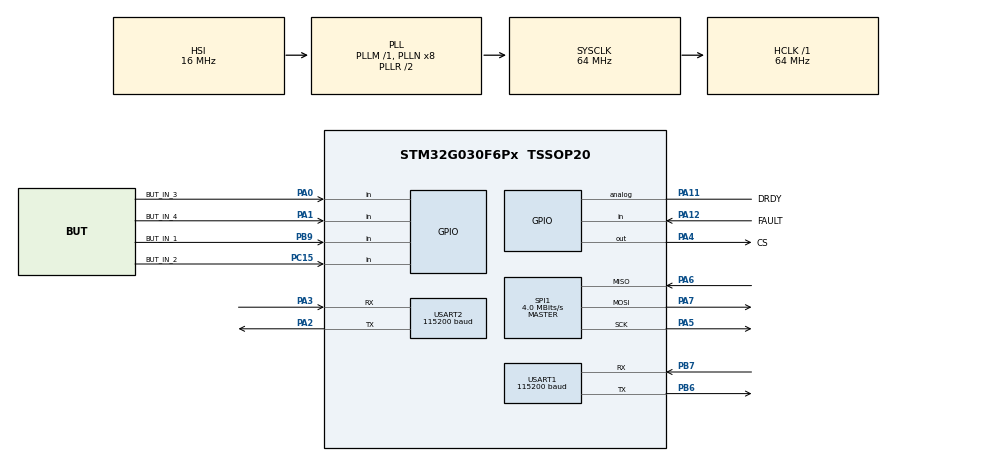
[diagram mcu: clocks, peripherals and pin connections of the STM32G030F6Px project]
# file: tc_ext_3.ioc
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Mcu.Family=STM32G0
Mcu.Name=STM32G030F6Px
Mcu.Package=TSSOP20
NVIC.SPI1_IRQn=true\:0\:0\:false\:false\:true\:true\:true\:true
NVIC.USART1_IRQn=true\:0\:0\:false\:false\:true\:true\:true\:true
NVIC.USART2_IRQn=true\:0\:0\:false\:false\:true\:true\:true\:true
PA0.GPIO_Label=BUT_IN_3
PA0.GPIO_PuPd=GPIO_PULLUP
PA0.Signal=GPIO_Input
PA1.GPIO_Label=BUT_IN_4
PA1.GPIO_PuPd=GPIO_PULLUP
PA1.Signal=GPIO_Input
PA11\ [PA9].GPIO_Label=DRDY
PA11\ [PA9].Signal=GPIO_Analog
PA12\ [PA10].GPIO_Label=FAULT
PA12\ [PA10].GPIO_PuPd=GPIO_NOPULL
PA12\ [PA10].Signal=GPIO_Input
PA13.Mode=Serial_Wire
PA13.Signal=SYS_SWDIO
PA14-BOOT0.Mode=Serial_Wire
PA14-BOOT0.Signal=SYS_SWCLK
PA14-BOOT0__PA15.StandardMode=true
PA2.Mode=Asynchronous
PA2.Signal=USART2_TX
PA3.Mode=Asynchronous
PA3.Signal=USART2_RX
PA4.GPIO_Label=CS
PA4.GPIO_Speed=GPIO_SPEED_FREQ_MEDIUM
PA4.Signal=GPIO_Output
PA5.GPIO_Speed=GPIO_SPEED_FREQ_MEDIUM
PA5.Mode=Full_Duplex_Master
PA5.Signal=SPI1_SCK
PA6.GPIO_Speed=GPIO_SPEED_FREQ_MEDIUM
PA6.Mode=Full_Duplex_Master
PA6.Signal=SPI1_MISO
PA7.GPIO_Speed=GPIO_SPEED_FREQ_MEDIUM
PA7.Mode=Full_Duplex_Master
PA7.Signal=SPI1_MOSI
PB0__PB1__PB2__PA8.StandardMode=true
PB3__PB4__PB5__PB6.StandardMode=true
PB6.Mode=Asynchronous
PB6.Signal=USART1_TX
PB7.Mode=Asynchronous
PB7.Signal=USART1_RX
PB7__PB8.StandardMode=true
PB9.GPIO_Label=BUT_IN_1
PB9.GPIO_PuPd=GPIO_PULLUP
PB9.Signal=GPIO_Input
PC14-OSC32_IN\ (PC14)__PB9.StandardMode=true
PC15-OSC32_OUT\ (PC15).GPIO_Label=BUT_IN_2
PC15-OSC32_OUT\ (PC15).GPIO_PuPd=GPIO_PULLUP
PC15-OSC32_OUT\ (PC15).Signal=GPIO_Input
ProjectManager.HeapSize=0x200
ProjectManager.StackSize=0x400
ProjectManager.TargetToolchain=STM32CubeIDE
RCC.ADCFreq_Value=64000000
RCC.AHBFreq_Value=64000000
RCC.CortexFreq_Value=64000000
RCC.EXTERNAL_CLOCK_VALUE=12288000
RCC.HCLKFreq_Value=64000000
RCC.HSE_VALUE=8000000
RCC.HSI_VALUE=16000000
RCC.LSE_VALUE=32768
RCC.SYSCLKFreq_VALUE=64000000
RCC.SYSCLKSource=RCC_SYSCLKSOURCE_PLLCLK
RCC.VCOOutputFreq_Value=128000000
SPI1.BaudRatePrescaler=SPI_BAUDRATEPRESCALER_16
SPI1.CLKPhase=SPI_PHASE_2EDGE
SPI1.CLKPolarity=SPI_POLARITY_HIGH
SPI1.CalculateBaudRate=4.0 MBits/s
SPI1.Direction=SPI_DIRECTION_2LINES
SPI1.Mode=SPI_MODE_MASTER
SPI1.VirtualType=VM_MASTER
USART1.BaudRate=115200
USART1.VirtualMode-Asynchronous=VM_ASYNC
USART2.BaudRate=115200
USART2.VirtualMode-Asynchronous=VM_ASYNC
board=custom

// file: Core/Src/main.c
/* USER CODE BEGIN Header */
/**
  ******************************************************************************
  * @file           : main.c
  * @brief          : Main program body
  ******************************************************************************
  * @attention
  *
  * Copyright (c) 2022 STMicroelectronics.
  * All rights reserved.
  *
  * This software is licensed under terms that can be found in the LICENSE file
  * in the root directory of this software component.
  * If no LICENSE file comes with this software, it is provided AS-IS.
  *
  ******************************************************************************
  */
/* USER CODE END Header */
#include "main.h"

/* USER CODE BEGIN Includes */
#include "MAX31856.h"
#define TIMEOUT 100
#define PERIOD  500

int Button_Read();
void print_Thermocouple_Type(uint8_t type);

#include <stdio.h>
#include <math.h>
#include <stdlib.h>
#include <stdbool.h>

#include "stm32g0xx.h"
#include "stm32g0xx_hal.h"

/* USER CODE END Includes */

SPI_HandleTypeDef hspi1;

UART_HandleTypeDef huart1;
UART_HandleTypeDef huart2;

/* USER CODE BEGIN PV */

float temp_cj = 0;
float temp = 0;
uint8_t four_segment_button = 0;
char temperature_value[10];
char thermocouple_type[22];
uint32_t last_time_ms = 0;

/* USER CODE END PV */

void SystemClock_Config(void);
static void MX_GPIO_Init(void);
static void MX_SPI1_Init(void);
static void MX_USART1_UART_Init(void);
static void MX_USART2_UART_Init(void);

/* USER CODE BEGIN 0 */

int Button_Read()
{
	  return ((uint8_t)HAL_GPIO_ReadPin(GPIOC, GPIO_PIN_14) << 3) | ((uint8_t)HAL_GPIO_ReadPin(GPIOC, GPIO_PIN_15) << 2) |
			  ((uint8_t)HAL_GPIO_ReadPin(GPIOA, GPIO_PIN_0) << 1) | ((uint8_t)HAL_GPIO_ReadPin(GPIOA, GPIO_PIN_1) << 0);
}

void print_Thermocouple_Type(uint8_t type)
{
	  switch(type)
	  {

	  case TC_TYPE_B:
		  sprintf(thermocouple_type, "B TYPE THERMOCOUPLE");
		  break;
	  case TC_TYPE_E:
		  sprintf(thermocouple_type, "E TYPE THERMOCOUPLE");
		  break;
	  case TC_TYPE_J:
		  sprintf(thermocouple_type, "J TYPE THERMOCOUPLE");
		  break;
	  case TC_TYPE_K:
		  sprintf(thermocouple_type, "K TYPE THERMOCOUPLE");
		  break;
	  case TC_TYPE_N:
		  sprintf(thermocouple_type, "N TYPE THERMOCOUPLE");
		  break;
	  case TC_TYPE_R:
		  sprintf(thermocouple_type, "R TYPE THERMOCOUPLE");
		  break;
	  case TC_TYPE_S:
		  sprintf(thermocouple_type, "S TYPE THERMOCOUPLE");
		  break;
	  case TC_TYPE_T:
		  sprintf(thermocouple_type, "T TYPE THERMOCOUPLE");
		  break;
	  case V_MODE_G8:
		  sprintf(thermocouple_type, "G8 TYPE THERMOCOUPLE");
		  break;
	  case V_MODE_G16:
		  sprintf(thermocouple_type, "G16 TYPE THERMOCOUPLE");
		  break;
	  default:
		  break;

	  }

}

/* USER CODE END 0 */

int main(void)
{

  /* MCU Configuration--------------------------------------------------------*/

  /* Reset of all peripherals, Initializes the Flash interface and the Systick. */
  HAL_Init();

  /* Configure the system clock */
  SystemClock_Config();

  /* Initialize all configured peripherals */
  MX_GPIO_Init();
  MX_SPI1_Init();
  MX_USART1_UART_Init();
  MX_USART2_UART_Init();
  /* USER CODE BEGIN 2 */
  __HAL_SPI_ENABLE(&hspi1);
  __HAL_UART_ENABLE(&huart1);

  HAL_UART_GetState(&huart1);
  HAL_SPI_GetState(&hspi1);

  four_segment_button = Button_Read();
  MAX31856_Set_Thermocouple(four_segment_button);
  print_Thermocouple_Type(four_segment_button);

  HAL_Delay(1000);

  /* USER CODE END 2 */

  /* Infinite loop */
  while (1)
  {

    /* USER CODE BEGIN 3 */

	  uint32_t current_time_ms = HAL_GetTick();
	  bool is_error = false;

	  while (1)
	  {
		  if ((HAL_GPIO_ReadPin(DRDY_GPIO_Port, DRDY_Pin) == GPIO_PIN_RESET)) //RESET yazılıydı
		  {
			  temp = MAX31856_readTemp();
			  temp_cj = MAX31856_readCJ();

			  char *temp_sign = (temp < 0) ? "-" : "+";
			  float temp_value = (temp < 0) ? -temp : temp;

			  /*
			   * For example temp = 26.53
			   */
			  int temp_int1 = temp_value;                            // get the integer 26

			  float temp_fraction = temp_value - temp_int1;          // get fraction 0.53
			  int temp_int2 = trunc(temp_fraction * 100);            // turn into integer 53

			  sprintf(temperature_value, "%s%04d,%02d\r\n", temp_sign, temp_int1, temp_int2);
			  break;

		  }

		  else if ((HAL_GetTick() > current_time_ms + 1000) || (HAL_GPIO_ReadPin(FAULT_GPIO_Port, FAULT_Pin) == GPIO_PIN_RESET))
		  {
			  is_error = true;
			  break;
		  }

	  }

	  if(current_time_ms - last_time_ms > PERIOD)
	  {
		  last_time_ms = HAL_GetTick();
		  if (is_error == false)
		  {
			  HAL_UART_Transmit(&huart1, (uint8_t *)&temperature_value, sizeof(temperature_value), TIMEOUT);
		  }
		  else
		  {
			  HAL_UART_Transmit(&huart1, (uint8_t *)"___ERROR\r\n", 10, TIMEOUT);
		  }
	  }

  }
  /* USER CODE END 3 */
}

void SystemClock_Config(void)
{
  RCC_OscInitTypeDef RCC_OscInitStruct = {0};
  RCC_ClkInitTypeDef RCC_ClkInitStruct = {0};

  /** Configure the main internal regulator output voltage
  */
  HAL_PWREx_ControlVoltageScaling(PWR_REGULATOR_VOLTAGE_SCALE1);

  /** Initializes the RCC Oscillators according to the specified parameters
  * in the RCC_OscInitTypeDef structure.
  */
  RCC_OscInitStruct.OscillatorType = RCC_OSCILLATORTYPE_HSI;
  RCC_OscInitStruct.HSIState = RCC_HSI_ON;
  RCC_OscInitStruct.HSIDiv = RCC_HSI_DIV1;
  RCC_OscInitStruct.HSICalibrationValue = RCC_HSICALIBRATION_DEFAULT;
  RCC_OscInitStruct.PLL.PLLState = RCC_PLL_ON;
  RCC_OscInitStruct.PLL.PLLSource = RCC_PLLSOURCE_HSI;
  RCC_OscInitStruct.PLL.PLLM = RCC_PLLM_DIV1;
  RCC_OscInitStruct.PLL.PLLN = 8;
  RCC_OscInitStruct.PLL.PLLP = RCC_PLLP_DIV2;
  RCC_OscInitStruct.PLL.PLLR = RCC_PLLR_DIV2;
  if (HAL_RCC_OscConfig(&RCC_OscInitStruct) != HAL_OK)
  {
    Error_Handler();
  }

  /** Initializes the CPU, AHB and APB buses clocks
  */
  RCC_ClkInitStruct.ClockType = RCC_CLOCKTYPE_HCLK|RCC_CLOCKTYPE_SYSCLK
                              |RCC_CLOCKTYPE_PCLK1;
  RCC_ClkInitStruct.SYSCLKSource = RCC_SYSCLKSOURCE_PLLCLK;
  RCC_ClkInitStruct.AHBCLKDivider = RCC_SYSCLK_DIV1;
  RCC_ClkInitStruct.APB1CLKDivider = RCC_HCLK_DIV1;

  if (HAL_RCC_ClockConfig(&RCC_ClkInitStruct, FLASH_LATENCY_2) != HAL_OK)
  {
    Error_Handler();
  }
}

static void MX_SPI1_Init(void)
{

  /* SPI1 parameter configuration*/
  hspi1.Instance = SPI1;
  hspi1.Init.Mode = SPI_MODE_MASTER;
  hspi1.Init.Direction = SPI_DIRECTION_2LINES;
  hspi1.Init.DataSize = SPI_DATASIZE_8BIT;
  hspi1.Init.CLKPolarity = SPI_POLARITY_HIGH;
  hspi1.Init.CLKPhase = SPI_PHASE_2EDGE;
  hspi1.Init.NSS = SPI_NSS_SOFT;
  hspi1.Init.BaudRatePrescaler = SPI_BAUDRATEPRESCALER_16;
  hspi1.Init.FirstBit = SPI_FIRSTBIT_MSB;
  hspi1.Init.TIMode = SPI_TIMODE_DISABLE;
  hspi1.Init.CRCCalculation = SPI_CRCCALCULATION_DISABLE;
  hspi1.Init.CRCPolynomial = 10;
  hspi1.Init.CRCLength = SPI_CRC_LENGTH_DATASIZE;
  hspi1.Init.NSSPMode = SPI_NSS_PULSE_DISABLE;
  if (HAL_SPI_Init(&hspi1) != HAL_OK)
  {
    Error_Handler();
  }

}

static void MX_USART1_UART_Init(void)
{

  huart1.Instance = USART1;
  huart1.Init.BaudRate = 115200;
  huart1.Init.WordLength = UART_WORDLENGTH_8B;
  huart1.Init.StopBits = UART_STOPBITS_1;
  huart1.Init.Parity = UART_PARITY_NONE;
  huart1.Init.Mode = UART_MODE_TX_RX;
  huart1.Init.HwFlowCtl = UART_HWCONTROL_NONE;
  huart1.Init.OverSampling = UART_OVERSAMPLING_16;
  huart1.Init.OneBitSampling = UART_ONE_BIT_SAMPLE_DISABLE;
  huart1.Init.ClockPrescaler = UART_PRESCALER_DIV1;
  huart1.AdvancedInit.AdvFeatureInit = UART_ADVFEATURE_NO_INIT;
  if (HAL_UART_Init(&huart1) != HAL_OK)
  {
    Error_Handler();
  }
  if (HAL_UARTEx_SetTxFifoThreshold(&huart1, UART_TXFIFO_THRESHOLD_1_8) != HAL_OK)
  {
    Error_Handler();
  }
  if (HAL_UARTEx_SetRxFifoThreshold(&huart1, UART_RXFIFO_THRESHOLD_1_8) != HAL_OK)
  {
    Error_Handler();
  }
  if (HAL_UARTEx_DisableFifoMode(&huart1) != HAL_OK)
  {
    Error_Handler();
  }

}

static void MX_USART2_UART_Init(void)
{

  huart2.Instance = USART2;
  huart2.Init.BaudRate = 115200;
  huart2.Init.WordLength = UART_WORDLENGTH_8B;
  huart2.Init.StopBits = UART_STOPBITS_1;
  huart2.Init.Parity = UART_PARITY_NONE;
  huart2.Init.Mode = UART_MODE_TX_RX;
  huart2.Init.HwFlowCtl = UART_HWCONTROL_NONE;
  huart2.Init.OverSampling = UART_OVERSAMPLING_16;
  huart2.Init.OneBitSampling = UART_ONE_BIT_SAMPLE_DISABLE;
  huart2.Init.ClockPrescaler = UART_PRESCALER_DIV1;
  huart2.AdvancedInit.AdvFeatureInit = UART_ADVFEATURE_NO_INIT;
  if (HAL_UART_Init(&huart2) != HAL_OK)
  {
    Error_Handler();
  }

}

static void MX_GPIO_Init(void)
{
  GPIO_InitTypeDef GPIO_InitStruct = {0};

  /* GPIO Ports Clock Enable */
  __HAL_RCC_GPIOB_CLK_ENABLE();
  __HAL_RCC_GPIOC_CLK_ENABLE();
  __HAL_RCC_GPIOA_CLK_ENABLE();

  /*Configure GPIO pin Output Level */
  HAL_GPIO_WritePin(CS_GPIO_Port, CS_Pin, GPIO_PIN_RESET);

  /*Configure GPIO pin : BUT_IN_1_Pin */
  GPIO_InitStruct.Pin = BUT_IN_1_Pin;
  GPIO_InitStruct.Mode = GPIO_MODE_INPUT;
  GPIO_InitStruct.Pull = GPIO_PULLUP;
  HAL_GPIO_Init(BUT_IN_1_GPIO_Port, &GPIO_InitStruct);

  /*Configure GPIO pin : BUT_IN_2_Pin */
  GPIO_InitStruct.Pin = BUT_IN_2_Pin;
  GPIO_InitStruct.Mode = GPIO_MODE_INPUT;
  GPIO_InitStruct.Pull = GPIO_PULLUP;
  HAL_GPIO_Init(BUT_IN_2_GPIO_Port, &GPIO_InitStruct);

  /*Configure GPIO pins : BUT_IN_3_Pin BUT_IN_4_Pin */
  GPIO_InitStruct.Pin = BUT_IN_3_Pin|BUT_IN_4_Pin;
  GPIO_InitStruct.Mode = GPIO_MODE_INPUT;
  GPIO_InitStruct.Pull = GPIO_PULLUP;
  HAL_GPIO_Init(GPIOA, &GPIO_InitStruct);

  /*Configure GPIO pin : CS_Pin */
  GPIO_InitStruct.Pin = CS_Pin;
  GPIO_InitStruct.Mode = GPIO_MODE_OUTPUT_PP;
  GPIO_InitStruct.Pull = GPIO_NOPULL;
  GPIO_InitStruct.Speed = GPIO_SPEED_FREQ_MEDIUM;
  HAL_GPIO_Init(CS_GPIO_Port, &GPIO_InitStruct);

  /*Configure GPIO pin : DRDY_Pin */
  GPIO_InitStruct.Pin = DRDY_Pin;
  GPIO_InitStruct.Mode = GPIO_MODE_ANALOG;
  GPIO_InitStruct.Pull = GPIO_NOPULL;
  HAL_GPIO_Init(DRDY_GPIO_Port, &GPIO_InitStruct);

  /*Configure GPIO pin : FAULT_Pin */
  GPIO_InitStruct.Pin = FAULT_Pin;
  GPIO_InitStruct.Mode = GPIO_MODE_INPUT;
  GPIO_InitStruct.Pull = GPIO_NOPULL;
  HAL_GPIO_Init(FAULT_GPIO_Port, &GPIO_InitStruct);

}

void Error_Handler(void)
{
  /* USER CODE BEGIN Error_Handler_Debug */
	HAL_NVIC_SystemReset();
  /* User can add his own implementation to report the HAL error return state */
  __disable_irq();
  while (1)
  {
  }
  /* USER CODE END Error_Handler_Debug */
}
